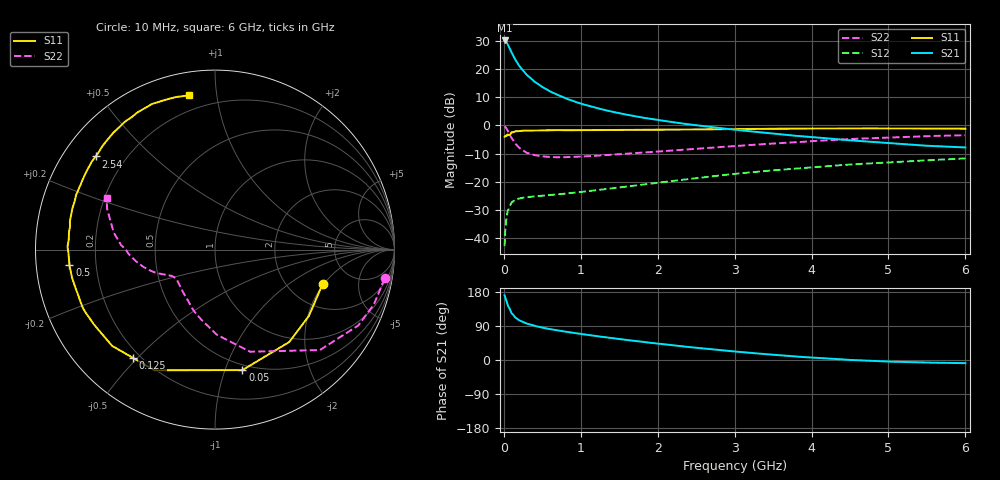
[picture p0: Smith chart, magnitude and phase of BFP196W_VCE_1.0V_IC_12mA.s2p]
! Infineon Technologies  Discrete & RF Semiconductors
! BFP196W
! VCE = 1.0 V,  IC =  12mA
! Common Emitter S-Parameters:  Jan 2016
# GHz  S  MA  R  50
!  f  S11  S21  S12  S22
! GHz  MAG  ANG  MAG  ANG  MAG  ANG  MAG  ANG
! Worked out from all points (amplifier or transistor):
!   210 points, 10 MHz to 6 GHz, reference 50 ohm
!   highest |S21| = 30.1 dB at 10 MHz (marker M1)
!   |S21| within 3 dB of that: start of sweep to 77.61 MHz
!   unconditionally stable (mu >= 1): 1.017 GHz to 3.551 GHz; 3.69 GHz to 3.81 GHz; 5.851 GHz to end of sweep
!   at 185 MHz: K = 0.25, MSG = 23.9 dB, |S12| = -26.1 dB
!   at 1.52 GHz: K = 1.16, MAG = 10.7 dB, |S12| = -22.0 dB
!   at 6 GHz: K = 1.01, MAG = 1.4 dB, |S12| = -11.7 dB
!   S11 on the Smith chart (normalised r, x): 10 MHz: 3.06, -1.95; 50 MHz: 0.45, -1.15; 125 MHz: 0.17, -0.49; 500 MHz: 0.10, -0.05; 2.54 GHz: 0.10, +0.34; 6 GHz: 0.12, +0.84
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0.01  0.6295 -17.8  31.93 170.6  0.0072 78.9  0.9589 -9.6
0.02  0.6405 -35.2  31.73 164.2  0.0146 75.1  0.9368 -19.0
0.03  0.6604 -51.2  30.57 157.1  0.0204 69.1  0.9034 -27.9
0.05  0.6885 -77.2  27.27 144.1  0.0303 56.9  0.809 -43.8
0.1  0.7521 -116.6  19.48 123.6  0.0428 39.4  0.6017 -71.0
0.125  0.7566 -127.0  16.91 118.5  0.0454 35.0  0.532 -78.8
0.15  0.7851 -136.9  14.52 111.6  0.0482 31.0  0.4749 -88.7
0.2  0.7929 -148.2  11.3 104.7  0.0505 26.8  0.399 -100.8
0.24  0.8021 -154.2  9.674 100.8  0.0519 25.1  0.3655 -108.0
0.3  0.8037 -160.9  7.772 95.9  0.0531 23.8  0.3248 -117.0
0.4  0.8117 -168.6  5.921 89.9  0.0549 23.5  0.2962 -127.0
0.5  0.8156 -173.9  4.778 85.3  0.0563 24.7  0.2815 -133.8
0.6  0.8155 -177.8  3.993 81.4  0.058 26.0  0.2744 -138.5
0.7  0.8218 178.9  3.455 78.0  0.0597 27.7  0.271 -141.6
1.02  0.819 170.6  2.38 68.4  0.066 33.3  0.2795 -147.8
1.42  0.8271 162.2  1.728 57.4  0.0766 39.0  0.3015 -151.9
2.02  0.8358 150.9  1.231 42.9  0.0968 44.5  0.3438 -157.5
2.54  0.8432 142.0  0.989 31.6  0.1173 45.7  0.3874 -163.3
3.1  0.8593 132.7  0.81 20.7  0.1418 44.5  0.4382 -170.6
4.1  0.8783 118.3  0.604 5.3  0.1845 39.3  0.5327 175.8
5.1  0.8786 107.4  0.473 -4.7  0.2239 32.1  0.6142 163.1
6  0.8712 99.7  0.405 -8.3  0.2586 25.7  0.6677 154.7
